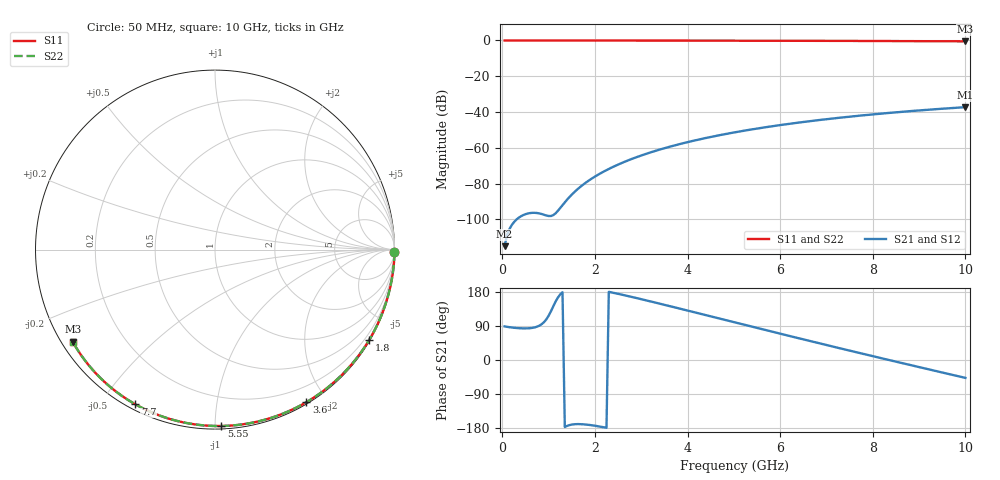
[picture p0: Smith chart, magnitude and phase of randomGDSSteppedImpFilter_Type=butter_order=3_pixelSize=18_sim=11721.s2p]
! freq	dB(S11)	phase(S11)	dB(S12)	phase(S12)
!  dB(S21)	phase(S21)	dB(S22)	phase(S22)
!S-par simulation data
#  GHz  S  DB  R 50
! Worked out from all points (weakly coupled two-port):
!   200 points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, 50 MHz to 10 GHz, reference 50 ohm
!   highest |S21| = -37.28 dB at 10 GHz (marker M1); lowest = -115.0 dB at 50 MHz (marker M2)
!   lowest |S11| = -0.5 dB at 10 GHz (marker M3), VSWR 35.07, Z = 1.55 - j14.8 ohm
!   |S11| at or under -10 dB: nowhere
!   |S22| runs from -0.5 to 0.0 dB; largest |S21 - S12| = 0
!   S11 on the Smith chart (normalised r, x): 50 MHz: open; 1.8 GHz: 0.03, -3.69; 3.6 GHz: 0.02, -1.76; 5.55 GHz: 0.02, -1.04; 7.7 GHz: 0.02, -0.61; 10 GHz: 0.03, -0.30
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0.05  -0.00 -0.9  -114.98 88.8  -114.98 88.8  -0.00 -0.9
0.45  -0.01 -7.7  -97.64 83.5  -97.64 83.5  -0.01 -7.7
0.9  -0.02 -15.3  -97.41 99.8  -97.41 99.8  -0.02 -15.3
1.3  -0.03 -22.0  -92.04 178.9  -92.04 178.9  -0.03 -22.0
1.75  -0.04 -29.5  -80.49 -169.7  -80.49 -169.7  -0.04 -29.5
1.8  -0.04 -30.3  -79.52 -170.2  -79.52 -170.2  -0.04 -30.3
1.95  -0.04 -32.8  -76.89 -172.5  -76.89 -172.5  -0.04 -32.8
2.1  -0.04 -35.2  -74.56 -175.5  -74.56 -175.5  -0.04 -35.2
2.3  -0.05 -38.5  -71.81 179.8  -71.81 179.8  -0.05 -38.5
2.5  -0.05 -41.7  -69.38 174.7  -69.38 174.7  -0.05 -41.7
2.9  -0.06 -48.1  -65.22 163.5  -65.22 163.5  -0.06 -48.1
3.4  -0.07 -56.0  -60.98 148.7  -60.98 148.7  -0.07 -56.0
3.6  -0.08 -59.1  -59.50 142.7  -59.50 142.7  -0.08 -59.1
4.3  -0.10 -69.7  -55.05 121.3  -55.05 121.3  -0.10 -69.7
5.05  -0.12 -80.8  -51.21 98.4  -51.21 98.4  -0.12 -80.8
5.55  -0.14 -87.9  -49.04 83.1  -49.04 83.1  -0.14 -87.9
6.1  -0.17 -95.6  -46.94 66.5  -46.94 66.5  -0.17 -95.6
6.7  -0.20 -103.9  -44.92 48.4  -44.92 48.4  -0.20 -103.9
7.7  -0.27 -117.2  -42.08 18.9  -42.08 18.9  -0.27 -117.2
8.35  -0.32 -125.7  -40.51 -0.0  -40.51 -0.0  -0.32 -125.7
9.2  -0.40 -136.7  -38.72 -24.5  -38.72 -24.5  -0.40 -136.7
10  -0.50 -147.1  -37.28 -47.2  -37.28 -47.2  -0.50 -147.1
